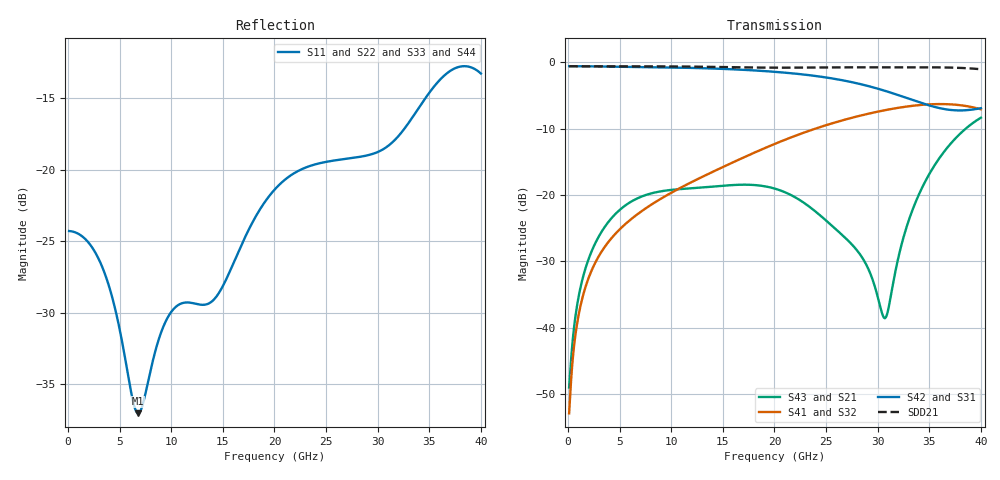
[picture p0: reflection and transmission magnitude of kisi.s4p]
! E_s8_L1L8_p1000_oval_g4: pair L1→L8, pitch 1 mm, one oval antipad, 4 GND vias
! stackup: 8-layer 1.6 mm FR-4 (generic)
! ports: 1 P near, 2 N near, 3 P far, 4 N far
! kisi-fdtd, conformal, dfine 0.035 mm, 768105 cells
# Hz S RI R 50
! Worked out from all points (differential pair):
!   400 points, 100 MHz to 40 GHz, reference 50 ohm
!   strongest paths, dB at 100 MHz, 10.1 GHz, 20.1 GHz, 30.1 GHz, 40 GHz:
!     S42: -0.6, -0.8, -1.4, -4.0, -6.9
!     S31: -0.6, -0.8, -1.4, -4.0, -6.9
!     S41: -52.9, -19.6, -12.2, -7.4, -7.1
!     S32: -52.9, -19.6, -12.2, -7.4, -7.1
!     S43: -49.0, -19.2, -19.1, -35.9, -8.3
!     S21: -49.0, -19.2, -19.1, -35.9, -8.3
!   taken as a pair (ports 2,1 in; 4,3 out), SDD21 dB: -0.6, -0.6, -0.8, -0.7, -1.0
!   lowest |S11| = -37.1 dB at 6.8 GHz (marker M1), VSWR 1.03, Z = 51.1 - j0.905 ohm
!   |S11| at or under -10 dB: start of sweep to end of sweep
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1e8  -0.061 0.00211  0.00318 0.00154  0.9372 -0.0355  0.00185 -0.00129
     0.00318 0.00154  -0.061 0.00211  0.00185 -0.00129  0.9372 -0.0355
     0.9372 -0.0355  0.00185 -0.00129  -0.061 0.00211  0.00318 0.00154
     0.00185 -0.00129  0.9372 -0.0355  0.00318 0.00154  -0.061 0.00211
6.8e9  0.0109 -0.00885  0.0467 -0.0828  -0.7741 -0.5044  -0.0323 0.0648
       0.0467 -0.0828  0.0109 -0.00885  -0.0323 0.0648  -0.7741 -0.5044
       -0.7741 -0.5044  -0.0323 0.0648  0.0109 -0.00885  0.0467 -0.0828
       -0.0323 0.0648  -0.7741 -0.5044  0.0467 -0.0828  0.0109 -0.00885
1.2e10  -0.0143 0.031  -0.1119 -0.0121  -0.1636 0.895  0.1251 0.0101
        -0.1119 -0.0121  -0.0143 0.031  0.1251 0.0101  -0.1636 0.895
        -0.1636 0.895  0.1251 0.0101  -0.0143 0.031  -0.1119 -0.0121
        0.1251 0.0101  -0.1636 0.895  -0.1119 -0.0121  -0.0143 0.031
1.64e10  0.0342 -0.0373  -0.00911 0.119  0.8829 0.0611  -0.00392 -0.1826
         -0.00911 0.119  0.0342 -0.0373  -0.00392 -0.1826  0.8829 0.0611
         0.8829 0.0611  -0.00392 -0.1826  0.0342 -0.0373  -0.00911 0.119
         -0.00392 -0.1826  0.8829 0.0611  -0.00911 0.119  0.0342 -0.0373
2.42e10  -0.0531 0.0907  0.0363 -0.0629  -0.7733 -0.145  0.0162 0.3209
         0.0363 -0.0629  -0.0531 0.0907  0.0162 0.3209  -0.7733 -0.145
         -0.7733 -0.145  0.0162 0.3209  -0.0531 0.0907  0.0363 -0.0629
         0.0162 0.3209  -0.7733 -0.145  0.0363 -0.0629  -0.0531 0.0907
3.07e10  0.1164 -0.025  -0.00578 0.0102  0.4244 0.4402  0.1092 -0.4227
         -0.00578 0.0102  0.1164 -0.025  0.1092 -0.4227  0.4244 0.4402
         0.4244 0.4402  0.1092 -0.4227  0.1164 -0.025  -0.00578 0.0102
         0.1092 -0.4227  0.4244 0.4402  -0.00578 0.0102  0.1164 -0.025
4e10  -0.2134 0.0419  -0.3257 0.2015  -0.3111 -0.328  0.3733 0.2397
      -0.3257 0.2015  -0.2134 0.0419  0.3733 0.2397  -0.3111 -0.328
      -0.3111 -0.328  0.3733 0.2397  -0.2134 0.0419  -0.3257 0.2015
      0.3733 0.2397  -0.3111 -0.328  -0.3257 0.2015  -0.2134 0.0419
